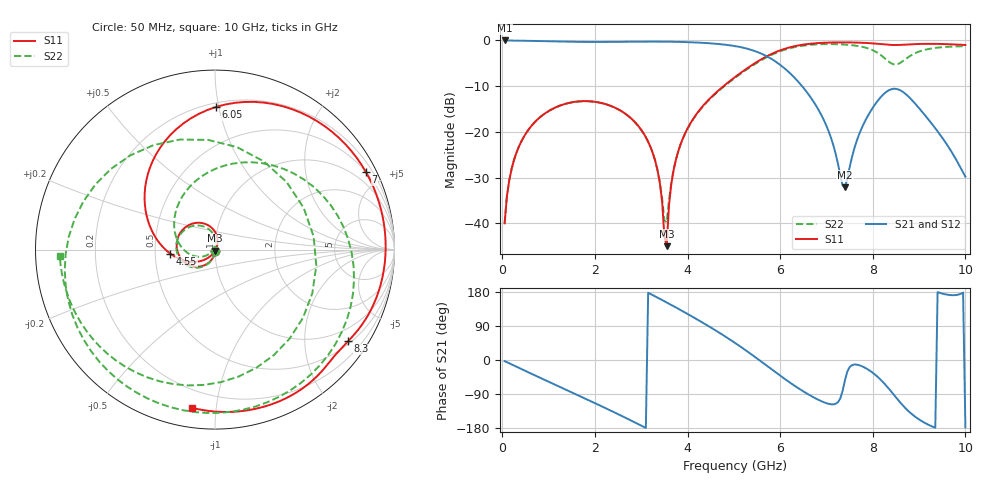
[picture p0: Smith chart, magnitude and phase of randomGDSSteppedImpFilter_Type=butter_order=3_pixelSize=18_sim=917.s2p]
! freq	dB(S11)	phase(S11)	dB(S12)	phase(S12)
!  dB(S21)	phase(S21)	dB(S22)	phase(S22)
!S-par simulation data
#  GHz  S  DB  R 50
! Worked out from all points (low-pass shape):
!   200 points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, 50 MHz to 10 GHz, reference 50 ohm
!   highest |S21| = -0.01 dB at 50 MHz (marker M1); lowest = -32.1 dB at 7.4 GHz (marker M2)
!   |S21| within 3 dB of the highest: start of sweep to 5.619 GHz
!   lowest |S11| = -45.0 dB at 3.55 GHz (marker M3), VSWR 1.01, Z = 50.1 - j0.552 ohm
!   |S11| at or under -10 dB: start of sweep to 4.776 GHz
!   |S22| runs from -40.0 to -0.8 dB; largest |S21 - S12| = 0
!   S11 on the Smith chart (normalised r, x): 50 MHz: 1.00, -0.02; 4.55 GHz: 0.60, -0.03; 6.05 GHz: 0.23, +0.98; 7 GHz: 0.50, +4.09; 8.3 GHz: 0.58, -3.11; 10 GHz: 0.10, -0.86
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0.05  -39.98 -91.1  -0.01 -2.9  -0.01 -2.9  -39.98 -91.8
0.2  -28.12 -102.0  -0.03 -11.6  -0.03 -11.6  -28.12 -101.1
0.5  -20.49 -120.3  -0.08 -28.9  -0.08 -28.9  -20.49 -118.2
1.75  -13.27 166.3  -0.33 -99.6  -0.33 -99.6  -13.28 173.2
2.85  -17.71 101.4  -0.28 -163.9  -0.28 -163.9  -17.74 110.9
3.4  -31.03 63.9  -0.26 161.6  -0.26 161.6  -30.84 88.4
3.55  -44.97 -77.2  -0.27 151.8  -0.27 151.8  -39.80 176.8
3.65  -31.37 -118.0  -0.29 145.2  -0.29 145.2  -30.95 -145.0
3.8  -24.23 -130.4  -0.32 135.2  -0.32 135.2  -24.19 -146.5
4.55  -12.02 -175.0  -0.68 82.2  -0.68 82.2  -12.17 155.6
5.05  -7.82 156.7  -1.29 43.0  -1.29 43.0  -8.00 105.5
5.55  -4.38 125.1  -2.70 -0.4  -2.70 -0.4  -4.58 49.7
6.05  -1.99 89.5  -5.73 -45.6  -5.73 -45.6  -2.19 -6.6
6.7  -0.67 45.1  -13.06 -97.1  -13.06 -97.1  -0.93 -71.0
7  -0.49 27.1  -18.68 -114.0  -18.68 -114.0  -0.80 -97.2
7.4  -0.43 5.5  -32.09 -53.0  -32.09 -53.0  -0.91 -131.6
7.9  -0.58 -18.5  -16.38 -25.3  -16.38 -25.3  -1.75 174.9
8.3  -0.92 -34.6  -11.19 -69.0  -11.19 -69.0  -4.26 93.5
8.35  -0.95 -36.3  -10.87 -76.1  -10.87 -76.1  -4.67 77.9
8.6  -0.97 -44.2  -10.93 -113.2  -10.93 -113.2  -4.86 -9.0
8.95  -0.79 -56.7  -14.21 -152.8  -14.21 -152.8  -2.63 -87.3
10  -1.01 -98.3  -29.78 -177.7  -29.78 -177.7  -1.25 -177.5
